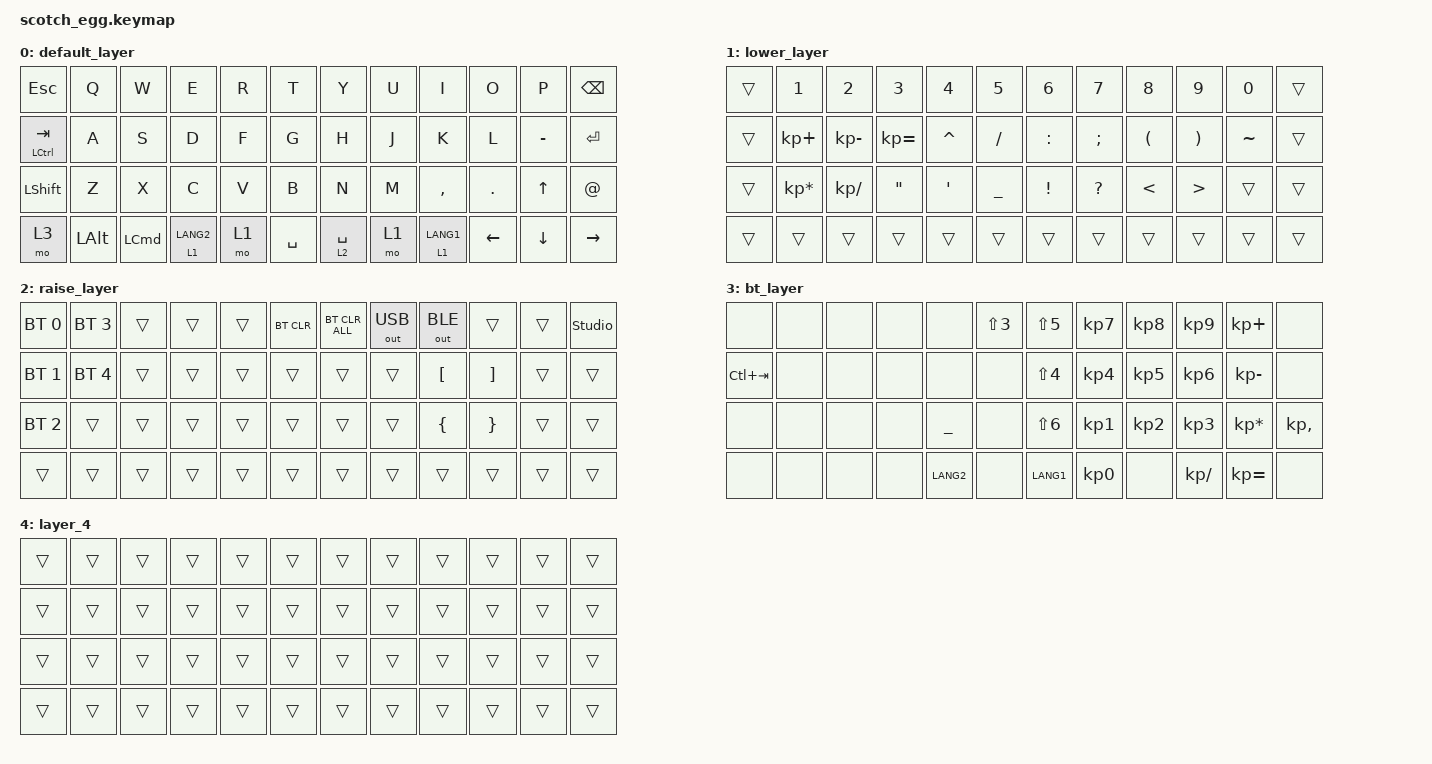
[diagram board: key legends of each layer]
#include <behaviors.dtsi>
#include <dt-bindings/zmk/bt.h>
#include <dt-bindings/zmk/keys.h>
#include <dt-bindings/zmk/outputs.h>

/ {
    combos {
        compatible = "zmk,combos";

        volup {
            bindings = <&kp C_VOLUME_UP>;
            key-positions = <5 6>;
        };

        voldown {
            bindings = <&kp C_VOLUME_DOWN>;
            key-positions = <17 18>;
        };
    };

    keymap {
        compatible = "zmk,keymap";

        default_layer {
            bindings = <
&kp ESC         &kp Q         &kp W             &kp E        &kp R  &kp T      &kp Y        &kp U  &kp I        &kp O     &kp P      &kp BACKSPACE
&mt LCTRL TAB   &kp A         &kp S             &kp D        &kp F  &kp G      &kp H        &kp J  &kp K        &kp L     &kp MINUS  &kp ENTER
&kp LEFT_SHIFT  &kp Z         &kp X             &kp C        &kp V  &kp B      &kp N        &kp M  &kp COMMA    &kp DOT   &kp UP     &kp AT_SIGN
&mo 3           &kp LEFT_ALT  &kp LEFT_COMMAND  &lt 1 LANG2  &mo 1  &kp SPACE  &lt 2 SPACE  &mo 1  &lt 1 LANG1  &kp LEFT  &kp DOWN   &kp RIGHT
            >;
        };

        lower_layer {
            bindings = <
&trans  &kp N1           &kp N2           &kp N3        &kp N4     &kp N5     &kp N6     &kp N7         &kp N8                &kp N9                 &kp N0     &trans
&trans  &kp KP_PLUS      &kp KP_SUBTRACT  &kp KP_EQUAL  &kp CARET  &kp SLASH  &kp COLON  &kp SEMICOLON  &kp LEFT_PARENTHESIS  &kp RIGHT_PARENTHESIS  &kp TILDE  &trans
&trans  &kp KP_MULTIPLY  &kp KP_DIVIDE    &kp DQT       &kp SQT    &kp UNDER  &kp EXCL   &kp QUESTION   &kp LESS_THAN         &kp GREATER_THAN       &trans     &trans
&trans  &trans           &trans           &trans        &trans     &trans     &trans     &trans         &trans                &trans                 &trans     &trans
            >;
        };

        raise_layer {
            bindings = <
&bt BT_SEL 0  &bt BT_SEL 3  &trans  &trans  &trans  &bt BT_CLR  &bt BT_CLR_ALL  &out OUT_USB  &out OUT_BLE      &trans             &trans  &studio_unlock
&bt BT_SEL 1  &bt BT_SEL 4  &trans  &trans  &trans  &trans      &trans          &trans        &kp LEFT_BRACKET  &kp RIGHT_BRACKET  &trans  &trans
&bt BT_SEL 2  &trans        &trans  &trans  &trans  &trans      &trans          &trans        &kp LEFT_BRACE    &kp RIGHT_BRACE    &trans  &trans
&trans        &trans        &trans  &trans  &trans  &trans      &trans          &trans        &trans            &trans             &trans  &trans
            >;
        };

        bt_layer {
            bindings = <
&none        &none  &none  &none  &none      &kp LS(N3)  &kp LS(N5)  &kp KP_NUMBER_7  &kp KP_NUMBER_8  &kp KP_NUMBER_9  &kp KP_PLUS      &none
&kp LC(TAB)  &none  &none  &none  &none      &none       &kp LS(N4)  &kp KP_NUMBER_4  &kp KP_NUMBER_5  &kp KP_NUMBER_6  &kp KP_SUBTRACT  &none
&none        &none  &none  &none  &kp UNDER  &none       &kp LS(N6)  &kp KP_NUMBER_1  &kp KP_NUMBER_2  &kp KP_NUMBER_3  &kp KP_MULTIPLY  &kp KP_COMMA
&none        &none  &none  &none  &kp LANG2  &none       &kp LANG1   &kp KP_NUMBER_0  &none            &kp KP_DIVIDE    &kp KP_EQUAL     &none
            >;
        };

        layer_4 {
            bindings = <
&trans  &trans  &trans  &trans  &trans  &trans  &trans  &trans  &trans  &trans  &trans  &trans
&trans  &trans  &trans  &trans  &trans  &trans  &trans  &trans  &trans  &trans  &trans  &trans
&trans  &trans  &trans  &trans  &trans  &trans  &trans  &trans  &trans  &trans  &trans  &trans
&trans  &trans  &trans  &trans  &trans  &trans  &trans  &trans  &trans  &trans  &trans  &trans
            >;
        };
    };
};
